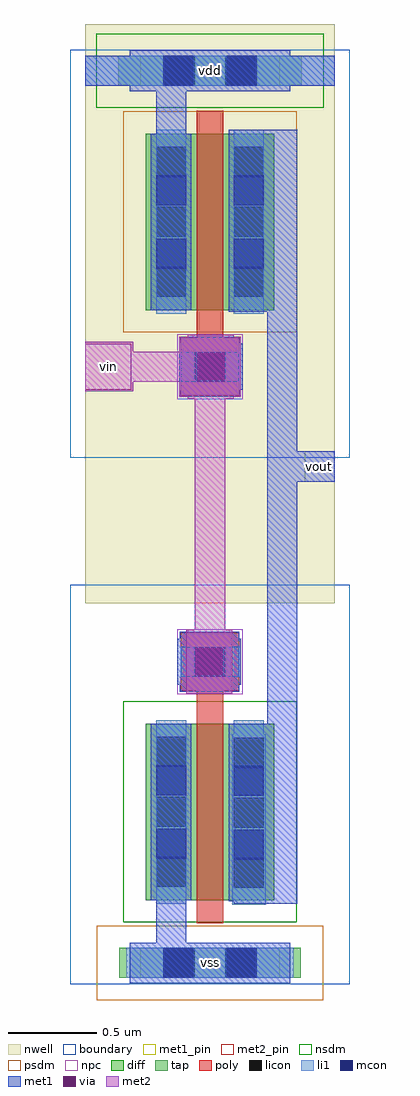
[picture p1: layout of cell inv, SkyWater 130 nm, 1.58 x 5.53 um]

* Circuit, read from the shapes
.subckt inv vdd vin vout vss
XM1 vout vin vss vss sky130_fd_pr__nfet_01v8 w=1 l=0.15
XM2 vout vin vdd vdd sky130_fd_pr__pfet_01v8 w=1 l=0.15
.ends

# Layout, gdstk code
import gdstk
lib = gdstk.Library(unit=1e-6, precision=1e-09)
def R(c, l, rs):  # rectangles x0, y0, x1, y1
    for r in rs: c.add(gdstk.rectangle(r[:2], r[2:], *l))
def A(c, l, x, y, w, h, nx, ny, dx, dy):  # array of equal rectangles
    R(c, l, [(x+i*dx, y+j*dy, x+i*dx+w, y+j*dy+h) for i in range(nx) for j in range(ny)])
nwell = (64, 20)
diff = (65, 20)
tap = (65, 44)
poly = (66, 20)
licon = (66, 44)
li1 = (67, 20)
mcon = (67, 44)
met1_pin = (68, 16)
met1 = (68, 20)
via = (68, 44)
met2_pin = (69, 16)
met2 = (69, 20)
nsdm = (93, 44)
psdm = (94, 20)
npc = (95, 20)
boundary = (235, 4)

sky130_fd_pr__nfet_01v8_ = lib.new_cell('sky130_fd_pr__nfet_01v8_BXYDM4')
R(sky130_fd_pr__nfet_01v8_, diff, [(-0.365,-0.655,0.365,0.345)])
R(sky130_fd_pr__nfet_01v8_, poly, [(-0.075,-0.785,0.075,0.475)])
A(sky130_fd_pr__nfet_01v8_, licon, 0.135, -0.585, 0.17, 0.17, 1, 3, 0, 0.34)
A(sky130_fd_pr__nfet_01v8_, licon, -0.305, -0.58, 0.17, 0.17, 1, 3, 0, 0.34)
R(sky130_fd_pr__nfet_01v8_, li1, [(0.125,-0.68,0.315,0.285), (-0.305,-0.675,-0.135,0.365), (0.135,0.285,0.305,0.365)])
R(sky130_fd_pr__nfet_01v8_, mcon, [(0.135,-0.425,0.305,-0.255), (-0.305,-0.42,-0.135,-0.25), (0.135,-0.065,0.305,0.105), (-0.305,-0.06,-0.135,0.11)])
R(sky130_fd_pr__nfet_01v8_, met1, [(0.105,-0.66,0.335,0.345), (-0.335,-0.655,-0.105,0.345)])
R(sky130_fd_pr__nfet_01v8_, nsdm, [(-0.49,-0.78,0.49,0.47)])
R(sky130_fd_pr__nfet_01v8_, boundary, [(-0.79,-1.13,0.79,1.13)])

sky130_fd_pr__pfet_01v8_ = lib.new_cell('sky130_fd_pr__pfet_01v8_7PK3FC')
R(sky130_fd_pr__pfet_01v8_, nwell, [(-0.705,-0.89,0.705,1.3)])
R(sky130_fd_pr__pfet_01v8_, diff, [(-0.365,-0.32,0.365,0.68)])
R(sky130_fd_pr__pfet_01v8_, tap, [(-0.52,0.95,0.52,1.12)])
R(sky130_fd_pr__pfet_01v8_, poly, [(-0.165,-0.805,0.165,-0.475), (-0.075,-0.475,0.075,0.81)])
A(sky130_fd_pr__pfet_01v8_, licon, -0.305, -0.245, 0.17, 0.17, 1, 3, 0, 0.34)
A(sky130_fd_pr__pfet_01v8_, licon, 0.135, -0.245, 0.17, 0.17, 1, 3, 0, 0.34)
R(sky130_fd_pr__pfet_01v8_, licon, [(-0.085,-0.725,0.085,-0.555), (-0.255,0.95,-0.085,1.12), (0.085,0.95,0.255,1.12)])
R(sky130_fd_pr__pfet_01v8_, li1, [(-0.165,-0.725,0.165,-0.555), (-0.305,-0.34,-0.135,0.7), (0.135,-0.34,0.305,0.7), (-0.705,0.95,0.705,1.12)])
R(sky130_fd_pr__pfet_01v8_, mcon, [(-0.085,-0.725,0.085,-0.555), (-0.305,-0.085,-0.135,0.085), (0.135,-0.085,0.305,0.085), (-0.305,0.275,-0.135,0.445), (0.135,0.275,0.305,0.445)])
R(sky130_fd_pr__pfet_01v8_, met1, [(-0.17,-0.81,0.17,-0.47), (-0.335,-0.32,-0.105,0.68), (0.105,-0.32,0.335,0.68), (-0.705,0.95,0.705,1.12)])
R(sky130_fd_pr__pfet_01v8_, nsdm, [(-0.645,0.825,0.645,1.245)])
R(sky130_fd_pr__pfet_01v8_, psdm, [(-0.49,-0.445,0.49,0.805)])
R(sky130_fd_pr__pfet_01v8_, npc, [(-0.185,-0.825,0.185,-0.455)])
R(sky130_fd_pr__pfet_01v8_, boundary, [(-0.79,-1.155,0.79,1.155)])

inv = lib.new_cell('inv')
R(inv, nwell, [(4.89,6.09,6.3,7.185)])
R(inv, tap, [(5.08,3.97,6.11,4.14)])
R(inv, poly, [(5.52,5.41,5.67,5.595), (5.43,5.595,5.76,5.925), (5.52,7.265,5.67,7.52)])
R(inv, licon, [(5.34,3.97,5.51,4.14), (5.68,3.97,5.85,4.14), (5.51,5.675,5.68,5.845)])
R(inv, li1, [(5.12,3.97,6.07,4.14), (5.43,5.675,5.76,5.845), (5.2,9.02,5.99,9.19)])
R(inv, mcon, [(5.33,3.97,5.5,4.14), (5.69,3.97,5.86,4.14), (5.51,5.675,5.68,5.845), (5.33,9.02,5.5,9.19), (5.69,9.02,5.86,9.19)])
R(inv, met1_pin, [(5.2,3.97,5.99,4.14), (6.13,6.78,6.3,6.95), (5.2,9.02,5.99,9.19)])
R(inv, met1, [(5.14,3.94,6.05,4.17), (5.29,4.17,5.46,5.35), (5.73,4.39,6.09,5.35), (5.92,5.35,6.09,6.78), (5.425,5.59,5.76,5.63), (5.41,5.63,5.77,5.89), (5.425,5.89,5.76,5.93), (5.92,6.78,6.3,6.95), (5.92,6.95,6.09,7.74), (5.43,7.26,5.76,7.3), (5.42,7.3,5.78,7.56), (5.43,7.56,5.76,7.6), (5.7,7.74,6.09,8.77), (5.29,7.81,5.46,8.99), (5.14,8.99,6.05,9.22)])
R(inv, via, [(5.515,5.685,5.665,5.835), (5.525,7.355,5.675,7.505)])
R(inv, met2_pin, [(4.89,7.3,5.15,7.56)])
R(inv, met2, [(5.46,5.58,5.72,5.94), (5.51,5.94,5.68,7.25), (5.47,7.25,5.73,7.26), (5.42,7.26,5.77,7.345), (4.89,7.29,5.16,7.345), (4.89,7.345,5.77,7.515), (4.89,7.515,5.16,7.57), (5.42,7.515,5.77,7.6), (5.47,7.6,5.73,7.61)])
R(inv, psdm, [(4.955,3.845,6.235,4.265)])
R(inv, npc, [(5.41,5.575,5.78,5.945)])
inv.add(gdstk.Reference(sky130_fd_pr__nfet_01v8_, (5.595,5.065)))
inv.add(gdstk.Reference(sky130_fd_pr__pfet_01v8_, (5.595,8.07)))
inv.add(gdstk.Label('vin', (5.02,7.43), layer=69, texttype=5))
inv.add(gdstk.Label('vout', (6.215,6.865), layer=68, texttype=5))
inv.add(gdstk.Label('vdd', (5.595,9.105), layer=68, texttype=5))
inv.add(gdstk.Label('vss', (5.595,4.055), layer=68, texttype=5))

lib.write_gds('inv.gds')
